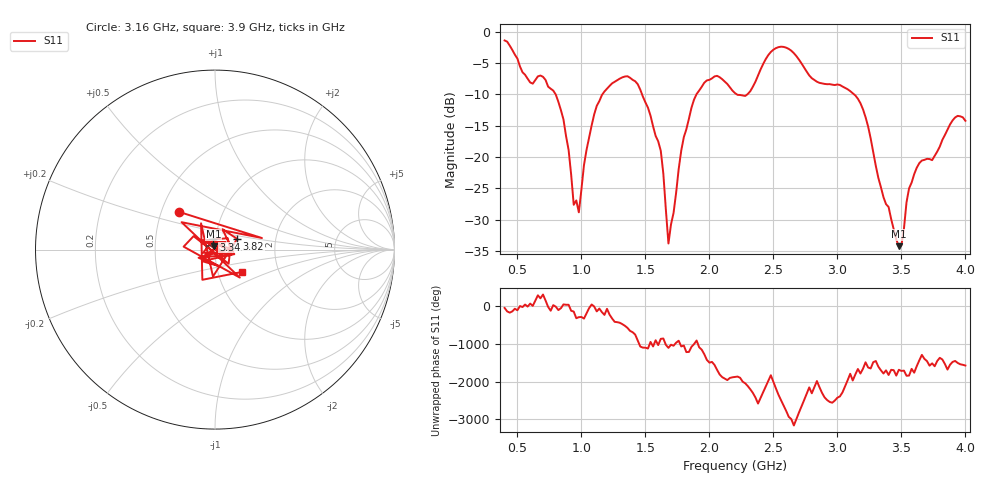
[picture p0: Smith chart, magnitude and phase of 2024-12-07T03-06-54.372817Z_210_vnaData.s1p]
!Created with skrf (http://scikit-rf.org).
# Hz S RI R 50.0
!freq ReS11 ImS11
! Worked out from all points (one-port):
!   181 points, 400 MHz to 4 GHz, reference 50 ohm
!   lowest |S11| = -34.2 dB at 3.48 GHz (marker M1), VSWR 1.04, Z = 49.2 + j1.77 ohm
!   |S11| at or under -10 dB: 799.4 MHz to 1.163 GHz (364 MHz wide, 37.1 % of centre); 1.474 GHz to 1.899 GHz (424.4 MHz wide, 25.2 % of centre); 3.131 GHz to end of sweep (the widest 3 of 4)
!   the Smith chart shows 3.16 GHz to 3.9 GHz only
!   S11 on the Smith chart (normalised r, x): 3.16 GHz: 0.61, +0.28; 3.34 GHz: 0.98, +0.11; 3.82 GHz: 1.27, +0.15; 3.9 GHz: 1.31, -0.34
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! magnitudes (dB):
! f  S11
! 400 MHz  -1.4
! 600 MHz  -8.1
! 720 MHz  -7.7
! 860 MHz  -14.0
! 940 MHz  -27.6
! 980 MHz  -28.8
! 1.04 GHz  -18.8
! 1.12 GHz  -11.8
! 1.3 GHz  -7.5
! 1.44 GHz  -8.4
! 1.6 GHz  -17.5
! 1.64 GHz  -22.6
! 1.68 GHz  -33.8
! 1.76 GHz  -21.9
! 1.86 GHz  -12.1
! 1.96 GHz  -8.1
! 2.2 GHz  -9.8
! 2.32 GHz  -9.5
! 2.5 GHz  -2.9
! 2.66 GHz  -3.4
! 3.1 GHz  -9.5
! 3.16 GHz  -10.7
! 3.34 GHz  -24.8
! 3.48 GHz  -34.2
! 3.56 GHz  -25.0
! 3.82 GHz  -17.2
! 3.9 GHz  -14.1
! 4 GHz  -14.2
